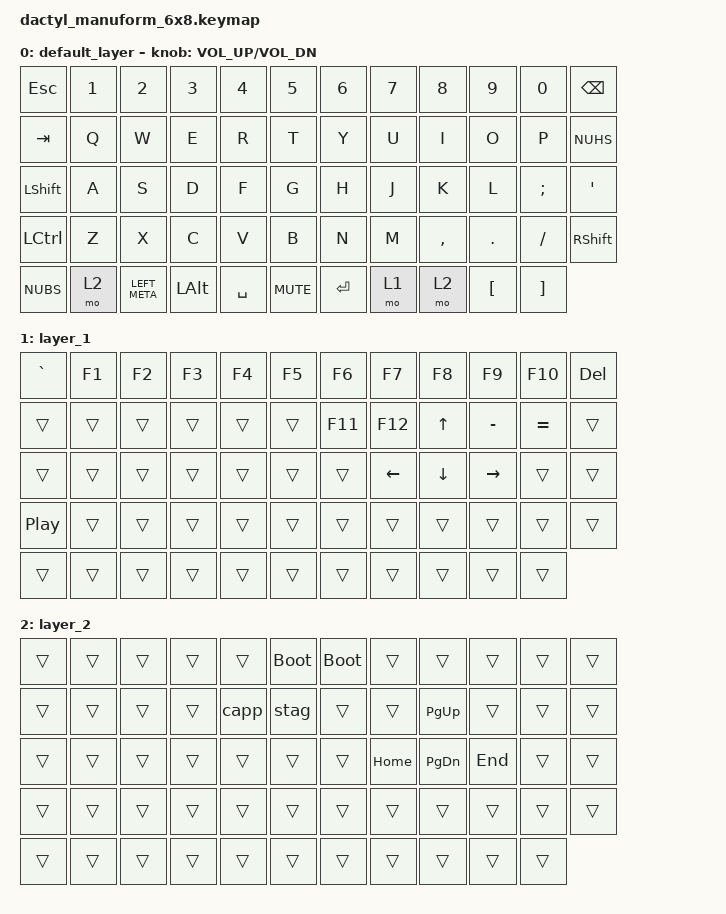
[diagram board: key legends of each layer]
/* zmk-nodefree-config */

#include "../../../../zmk-nodefree-config/helper.h"
#include <behaviors.dtsi>
#include <dt-bindings/zmk/keys.h>

/* zmk-locale-generator key header */
/* # include "keys_de.h"  */
/* layer shortcuts */

#define DEFAULT 0
#define RAISE 1
#define META 2

/ {
    macros {
        stag: stag {
            compatible = "zmk,behavior-macro";
            #binding-cells = <0>;
            bindings = <&kp N1 &kp N4 &kp N9 &kp N2 &kp LS(H) &kp LS(O) &kp LS(U) &kp LS(S) &kp LS(E) &kp L &kp E &kp A &kp F &kp LS(C) &kp LS(O) &kp LS(N) &kp LS(S) &kp LS(T) &kp LS(A) &kp LS(N) &kp LS(T)>;
            label = "STAG";
            wait-ms = <40>;
            tap-ms = <40>;
        };

        capp: capp {
            compatible = "zmk,behavior-macro";
            #binding-cells = <0>;
            bindings = <&kp LS(U) &kp O &kp N5 &kp H &kp A &kp I &kp M &kp I &kp A &kp C &kp H &kp N8>;
            label = "CAPP";
            wait-ms = <40>;
            tap-ms = <40>;
        };
    };

    keymap {
        compatible = "zmk,keymap";

        default_layer {
            sensor-bindings = <&inc_dec_kp C_VOL_UP C_VOL_DN>;
            bindings = <
&kp ESC           &kp N1  &kp N2         &kp N3        &kp N4     &kp N5      &kp N6   &kp N7  &kp N8     &kp N9    &kp N0    &kp BSPC
&kp TAB           &kp Q   &kp W          &kp E         &kp R      &kp T       &kp Y    &kp U   &kp I      &kp O     &kp P     &kp NUHS
&kp LSHFT         &kp A   &kp S          &kp D         &kp F      &kp G       &kp H    &kp J   &kp K      &kp L     &kp SEMI  &kp SQT
&kp LEFT_CONTROL  &kp Z   &kp X          &kp C         &kp V      &kp B       &kp N    &kp M   &kp COMMA  &kp DOT   &kp FSLH  &kp RSHIFT
&kp NUBS          &mo 2   &kp LEFT_META  &kp LEFT_ALT  &kp SPACE  &kp K_MUTE  &kp RET  &mo 1   &mo 2      &kp LBKT  &kp RBKT
            >;
        };

        layer_1 {
            bindings = <
&kp GRAVE         &kp F1  &kp F2  &kp F3  &kp F4  &kp F5  &kp F6   &kp F7    &kp F8    &kp F9     &kp F10    &kp DEL
&trans            &trans  &trans  &trans  &trans  &trans  &kp F11  &kp F12   &kp UP    &kp MINUS  &kp EQUAL  &trans
&trans            &trans  &trans  &trans  &trans  &trans  &trans   &kp LEFT  &kp DOWN  &kp RIGHT  &trans     &trans
&kp C_PLAY_PAUSE  &trans  &trans  &trans  &trans  &trans  &trans   &trans    &trans    &trans     &trans     &trans
&trans            &trans  &trans  &trans  &trans  &trans  &trans   &trans    &trans    &trans     &trans
            >;
        };

        layer_2 {
            bindings = <
&trans  &trans  &trans  &trans  &trans  &bootloader  &bootloader  &trans    &trans     &trans   &trans  &trans
&trans  &trans  &trans  &trans  &capp   &stag        &trans       &trans    &kp PG_UP  &trans   &trans  &trans
&trans  &trans  &trans  &trans  &trans  &trans       &trans       &kp HOME  &kp PG_DN  &kp END  &trans  &trans
&trans  &trans  &trans  &trans  &trans  &trans       &trans       &trans    &trans     &trans   &trans  &trans
&trans  &trans  &trans  &trans  &trans  &trans       &trans       &trans    &trans     &trans   &trans
            >;
        };

        /*
        layer_1 {
            bindings = <
&kp GRAVE         &kp F1  &kp F2    &kp F3    &kp F4     &kp F5  &kp F6         &kp F7       &kp F8  &kp F9    &kp F10         &kp F11    &kp F12  &trans  &kp DEL
&trans            &trans  &trans    &kp UP    &trans     &trans  &bootloader    &bootloader  &trans  &trans    &kp UP          &trans     &trans   &trans  &trans
&trans            &trans  &kp LEFT  &kp DOWN  &kp RIGHT  &trans  &sys_reset     &sys_reset   &trans  &kp LEFT  &kp DOWN_ARROW  &kp RIGHT  &trans   &trans  &trans
&trans            &trans  &trans    &trans    &trans     &trans                              &trans  &trans    &trans          &trans     &trans   &trans  &trans
&kp K_PLAY_PAUSE  &trans  &trans    &trans                                                                     &trans          &trans     &trans   &trans  &trans
                          &trans    &trans    &trans     &trans  &trans         &trans       &trans  &trans    &trans          &trans
            >;
        };

        layer_2 {
            bindings = <
&trans  &trans  &trans  &trans  &trans  &out OUT_BLE  &out OUT_USB    &bt BT_SEL 0  &bt BT_SEL 1  &bt BT_SEL 2  &bt BT_SEL 3  &bt BT_SEL 4  &trans  &trans  &bt BT_CLR
&trans  &trans  &trans  &trans  &trans  &trans        &trans          &trans        &trans        &trans        &trans        &trans        &trans  &trans  &trans
&trans  &trans  &trans  &trans  &trans  &trans        &trans          &trans        &trans        &trans        &trans        &trans        &trans  &trans  &trans
&trans  &trans  &trans  &trans  &trans  &trans                                      &trans        &trans        &trans        &trans        &trans  &trans  &trans
&trans  &trans  &trans  &trans                                                                                  &trans        &trans        &trans  &trans  &trans
                &trans  &trans  &trans  &trans        &trans          &trans        &trans        &trans        &trans        &trans
            >;
        };
*/
    };
};
